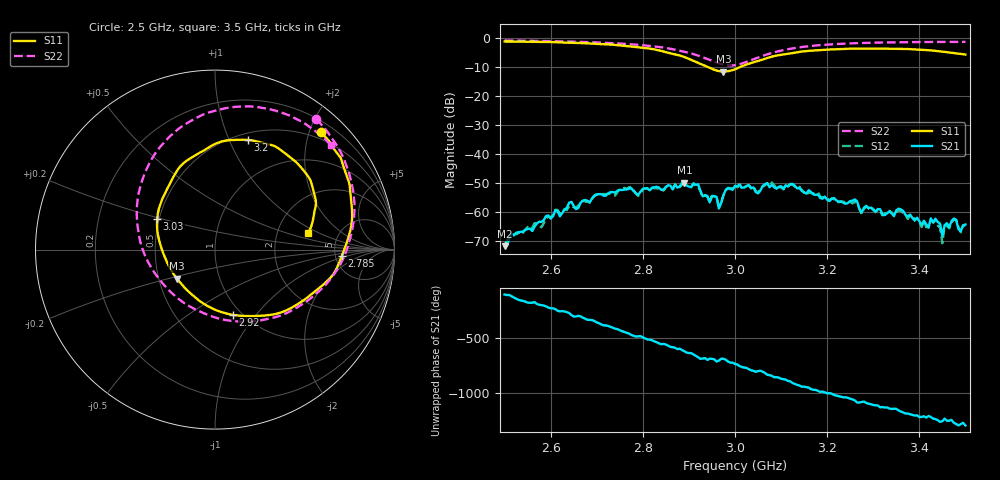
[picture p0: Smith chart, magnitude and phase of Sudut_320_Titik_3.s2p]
# Hz S RI R 50
! CMT, C1220, 16058040, 17.2.0/1
! Date: 15/08/2018 10:45:07
! Data: Format (Calibration Info)
! Freq  S11: Re/Im (F2)  S21: Re/Im (F2)  S12: Re/Im (F2)  S22: Re/Im (F2)
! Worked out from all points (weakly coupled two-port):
!   201 points, 2.5 GHz to 3.5 GHz, reference 50 ohm
!   highest |S21| = -49.84 dB at 2.89 GHz (marker M1); lowest = -71.7 dB at 2.5 GHz (marker M2)
!   lowest |S11| = -11.5 dB at 2.975 GHz (marker M3), VSWR 1.73, Z = 31.1 - j10.8 ohm
!   |S11| at or under -10 dB: 2.943 GHz to 3.01 GHz (66.95 MHz wide, 2.25 % of centre)
!   |S22| runs from -9.3 to -0.7 dB; largest |S21 - S12| = 0.00031
!   S11 on the Smith chart (normalised r, x): 2.5 GHz: 0.38, +2.20; 2.785 GHz: 5.70, -0.86; 2.92 GHz: 0.91, -0.77; 3.03 GHz: 0.49, +0.19; 3.2 GHz: 0.57, +1.18; 3.5 GHz: 3.00, +0.76
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2.5e9  0.5917 0.6532  -3.79e-05 -0.000256  -3.69e-06 -0.000271  0.5638 0.7258
2.67e9  0.7517 0.3426  0.00105 0.00117  0.00113 0.0011  0.7375 0.4533
2.785e9  0.7063 -0.0375  -0.00123 -0.00171  -0.00132 -0.00163  0.7675 0.1256
2.835e9  0.5823 -0.2124  -0.00263 0.000368  -0.00253 0.000211  0.7067 -0.0664
2.89e9  0.3059 -0.3639  -0.000544 0.00318  -0.000563 0.00295  0.5125 -0.2865
2.92e9  0.0994 -0.3639  0.00214 0.00214  0.00189 0.00204  0.3323 -0.3779
2.945e9  -0.0541 -0.307  0.00126 0.000774  0.00121 0.000845  0.14 -0.4009
2.96e9  -0.1396 -0.2412  0.00183 0.000187  0.00187 0.000235  0.0174 -0.3834
2.965e9  -0.1667 -0.2151  0.00113 0.000272  0.0012 0.000372  -0.0236 -0.3701
2.975e9  -0.212 -0.1614  0.0017 0.001  0.00169 0.00101  -0.1012 -0.3372
3e9  -0.292 -0.0108  0.00274 -0.000807  0.00272 -0.001  -0.2739 -0.2084
3.03e9  -0.3221 0.1716  0.00124 -0.00268  0.00123 -0.00263  -0.4062 0.00888
3.17e9  0.086 0.6101  -0.000525 0.00196  -0.000732 0.00196  -0.0914 0.7402
3.2e9  0.1843 0.6108  0.000469 0.00156  0.000555 0.00162  0.0185 0.7782
3.26e9  0.3453 0.5694  0.00164 0.000225  0.00149 0.000181  0.2093 0.7971
3.275e9  0.374 0.549  0.000981 -0.000116  0.000921 -0.000104  0.2509 0.7919
3.335e9  0.4868 0.4487  0.000411 -0.000947  0.000409 -0.000971  0.3925 0.7556
3.42e9  0.5617 0.2698  -0.000385 -0.000379  -0.000416 -0.000381  0.5418 0.6741
3.435e9  0.5599 0.238  -0.000744 -0.000211  -0.000644 -0.000232  0.5633 0.6572
3.45e9  0.553 0.2046  -0.000389 2.35e-05  -0.00029 -2.43e-05  0.585 0.6403
3.455e9  0.5506 0.1913  -0.000558 -0.000206  -0.000547 -0.000235  0.5917 0.6352
3.5e9  0.5174 0.0921  -0.000452 0.000414  -0.000367 0.000455  0.6447 0.5837
